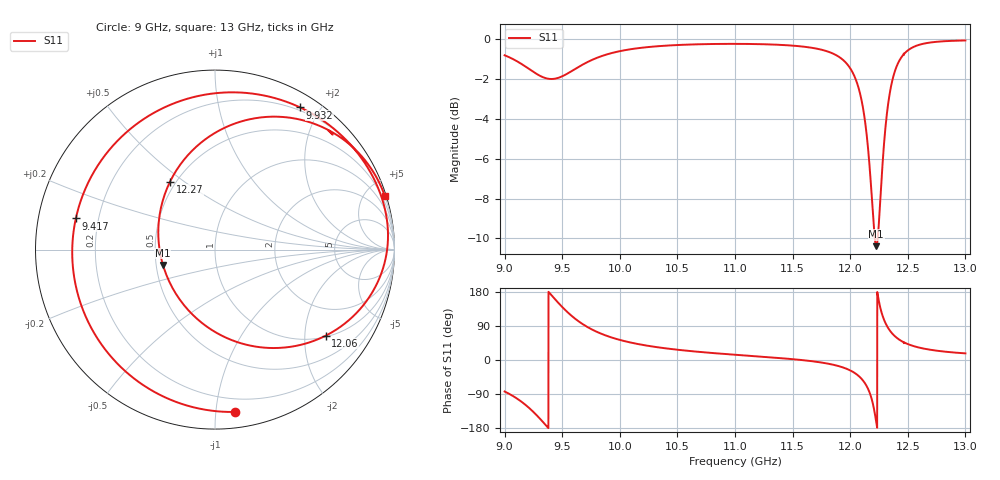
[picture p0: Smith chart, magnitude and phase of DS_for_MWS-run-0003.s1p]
! TOUCHSTONE file generated by CST DESIGN STUDIO
! Date and time: Tue Feb  4 13:42:01 2025
! Project name: C:\Work\MatlabApps\UnitCellOptimizationMatlab\CST\unitcell.cst
! Tree item: Tasks\Sweep1\SPara1\S-Parameters
! Header version: 2024
! Port assignment regex: !\s*Touchstone port\s*([0-9]+)\s*=\s*(CST MWS port|CST DES external port|CST DES block port)\s*(.+)\s* \(\"(.*)\"\)(\s*mode\s*([0-9]+))?.*
! Touchstone port assignment:
! Touchstone port 1 = CST DES external port 1 ("")
# GHz S MA R 50
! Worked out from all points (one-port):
!   4001 points, 9 GHz to 13 GHz, reference 50 ohm
!   lowest |S11| = -10.4 dB at 12.23 GHz (marker M1), VSWR 1.87, Z = 27.2 - j5.09 ohm
!   |S11| at or under -10 dB: 12.21318 GHz to 12.23873 GHz (25.55 MHz wide, 0.209 % of centre)
!   S11 on the Smith chart (normalised r, x): 9 GHz: 0.11, -1.12; 9.417 GHz: 0.12, +0.11; 9.932 GHz: 0.16, +1.75; 12.06 GHz: 1.03, -2.55; 12.27 GHz: 0.47, +0.44; 13 GHz: 0.16, +6.50
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9  0.9111 -83.1
9.114  0.8779 -103.1
9.208  0.8435 -125.3
9.322  0.8052 -159.9
9.417  0.7945 167.4
9.5  0.8069 139.9
9.583  0.8319 116.2
9.672  0.8616 95.8
9.798  0.8969 74.7
9.932  0.9233 59.1
10  0.933 53.0
10.215  0.9534 39.0
10.5  0.9667 27.1
11  0.9732 13.9
11.5  0.9634 2.2
11.828  0.926 -10.9
12  0.8452 -27.4
12.056  0.7814 -37.9
12.155  0.532 -76.1
12.19  0.3908 -106.7
12.226  0.3023 -163.6
12.274  0.4537 123.5
12.312  0.6245 93.9
12.354  0.7601 73.8
12.421  0.8772 54.7
12.5  0.937 42.0
12.679  0.9793 27.8
13  0.9926 17.5
